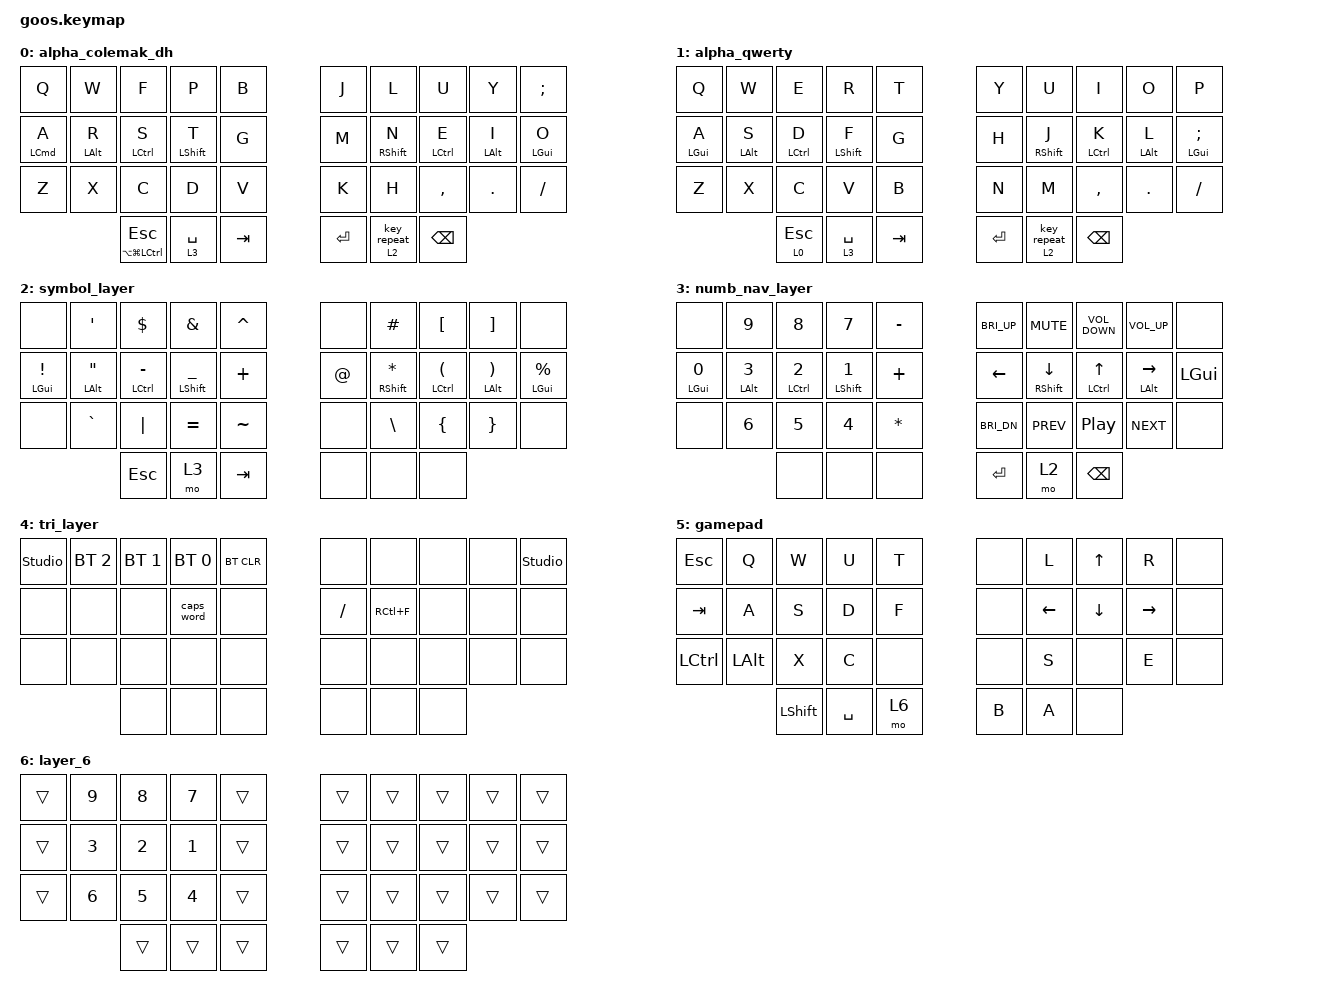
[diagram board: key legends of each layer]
/*
 * Copyright (c) 2021 The ZMK Contributors
 *
 * SPDX-License-Identifier: MIT
 */

#include <behaviors.dtsi>
#include <dt-bindings/zmk/bt.h>
#include <dt-bindings/zmk/keys.h>

&lt { flavor = "hold-preferred"; };

/ {
    conditional_layers {
        compatible = "zmk,conditional-layers";

        Tri {
            if-layers = <3 2>;
            then-layer = <4>;
        };
    };

    behaviors {
        hrm: home_row_mods {
            compatible = "zmk,behavior-hold-tap";
            label = "HOME_ROW_MODS";
            #binding-cells = <2>;
            flavor = "balanced";
            tapping-term-ms = <200>;
            bindings = <&kp>, <&kp>;

            quick-tap-ms = <250>;
        };

        lt_repeat: lt_repeat {
            compatible = "zmk,behavior-hold-tap";
            label = "LT_REPEAT";
            bindings = <&mo>, <&key_repeat>;

            #binding-cells = <2>;
            flavor = "hold-preferred";
            tapping-term-ms = <200>;
            quick-tap-ms = <200>;
        };
    };

    combos {
        compatible = "zmk,combos";

        Gamepad {
            bindings = <&tog 5>;
            key-positions = <9 29>;
        };

        toggle_layout {
            bindings = <&tog 1>;
            key-positions = <0 20>;
        };

        vim_save {
            bindings = <&vim_save>;
            key-positions = <21 22>;
            layers = <0>;
        };

        lock {
            bindings = <&kp K_LOCK>;
            key-positions = <30 32 31>;
        };
    };

    macros {
        vim_save: vim_save {
            compatible = "zmk,behavior-macro";
            #binding-cells = <0>;
            bindings = <&kp ESCAPE &kp COLON &kp W &kp ENTER>;
            label = "VIM_SAVE";
            wait-ms = <50>;
        };
    };

    keymap {
        compatible = "zmk,keymap";

        alpha_colemak_dh {
            bindings = <
&kp Q                &kp W            &kp F                &kp P                          &kp B                              &kp J           &kp L               &kp U                &kp Y            &kp SEMICOLON
&hrm LEFT_COMMAND A  &hrm LEFT_ALT R  &hrm LEFT_CONTROL S  &hrm LEFT_SHIFT T              &kp G                              &kp M           &hrm RIGHT_SHIFT N  &hrm LEFT_CONTROL E  &hrm LEFT_ALT I  &hrm LEFT_GUI O
&kp Z                &kp X            &kp C                &kp D                          &kp V                              &kp K           &kp H               &kp COMMA            &kp DOT          &kp SLASH
                                                           &hrm LA(LG(LEFT_CONTROL)) ESC  &lt 3 SPACE  &kp TAB    &kp ENTER  &lt_repeat 2 0  &kp BSPC
            >;
        };

        alpha_qwerty {
            bindings = <
&kp Q            &kp W            &kp E                &kp R              &kp T                              &kp Y           &kp U               &kp I                &kp O            &kp P
&hrm LEFT_GUI A  &hrm LEFT_ALT S  &hrm LEFT_CONTROL D  &hrm LEFT_SHIFT F  &kp G                              &kp H           &hrm RIGHT_SHIFT J  &hrm LEFT_CONTROL K  &hrm LEFT_ALT L  &hrm LEFT_GUI SEMICOLON
&kp Z            &kp X            &kp C                &kp V              &kp B                              &kp N           &kp M               &kp COMMA            &kp DOT          &kp SLASH
                                                       &lt 0 ESC          &lt 3 SPACE  &kp TAB    &kp ENTER  &lt_repeat 2 0  &kp BSPC
            >;
        };

        Symbol {
            bindings = <
&none                      &kp SINGLE_QUOTE             &kp DOLLAR               &kp AMPERSAND               &kp CARET                    &none        &kp POUND               &kp LEFT_BRACKET                    &kp RIGHT_BRACKET                &none
&hrm LEFT_GUI EXCLAMATION  &hrm LEFT_ALT DOUBLE_QUOTES  &hrm LEFT_CONTROL MINUS  &hrm LEFT_SHIFT UNDERSCORE  &kp PLUS                     &kp AT_SIGN  &hrm RIGHT_SHIFT ASTRK  &hrm LEFT_CONTROL LEFT_PARENTHESIS  &hrm LEFT_ALT RIGHT_PARENTHESIS  &hrm LEFT_GUI PERCENT
&none                      &kp GRAVE                    &kp PIPE                 &kp EQUAL                   &kp TILDE                    &none        &kp BACKSLASH           &kp LEFT_BRACE                      &kp RIGHT_BRACE                  &none
                                                                                 &kp ESC                     &mo 3      &kp TAB    &none  &none        &none
            >;

            label = "symbol_layer";
        };

        Numbers_Navigation {
            bindings = <
&none             &kp NUMBER_9      &kp NUMBER_8          &kp NUMBER_7        &kp MINUS                      &kp C_BRI_UP  &kp C_MUTE             &kp C_VOLUME_DOWN     &kp C_VOLUME_UP      &none
&hrm LEFT_GUI N0  &hrm LEFT_ALT N3  &hrm LEFT_CONTROL N2  &hrm LEFT_SHIFT N1  &kp PLUS                       &kp LEFT      &hrm RIGHT_SHIFT DOWN  &hrm LEFT_CONTROL UP  &hrm LEFT_ALT RIGHT  &kp LEFT_GUI
&none             &kp NUMBER_6      &kp NUMBER_5          &kp NUMBER_4        &kp STAR                       &kp C_BRI_DN  &kp C_PREV             &kp C_PP              &kp C_NEXT           &none
                                                          &none               &none      &none    &kp ENTER  &mo 2         &kp BSPC
            >;

            label = "numb_nav_layer";
        };

        Tri {
            bindings = <
&studio_unlock  &bt BT_SEL 2  &bt BT_SEL 1  &bt BT_SEL 0  &bt BT_CLR                  &none      &none      &none  &none  &studio_unlock
&none           &none         &none         &caps_word    &none                       &kp SLASH  &kp RC(F)  &none  &none  &none
&none           &none         &none         &none         &none                       &none      &none      &none  &none  &none
                                            &none         &none       &none    &none  &none      &none
            >;

            label = "tri_layer";
        };

        gamepad {
            bindings = <
&kp ESC    &kp Q         &kp W  &kp U      &kp T                      &none  &kp L     &kp UP    &kp R      &none
&kp TAB    &kp A         &kp S  &kp D      &kp F                      &none  &kp LEFT  &kp DOWN  &kp RIGHT  &none
&kp LCTRL  &kp LEFT_ALT  &kp X  &kp C      &none                      &none  &kp S     &none     &kp E      &none
                                &kp LSHFT  &kp SPACE  &mo 6    &kp B  &kp A  &none
            >;
        };

        layer_6 {
            bindings = <
&trans  &kp N9  &kp N8  &kp N7  &trans                    &trans  &trans  &trans  &trans  &trans
&trans  &kp N3  &kp N2  &kp N1  &trans                    &trans  &trans  &trans  &trans  &trans
&trans  &kp N6  &kp N5  &kp N4  &trans                    &trans  &trans  &trans  &trans  &trans
                        &trans  &trans  &trans    &trans  &trans  &trans
            >;
        };
    };
};
